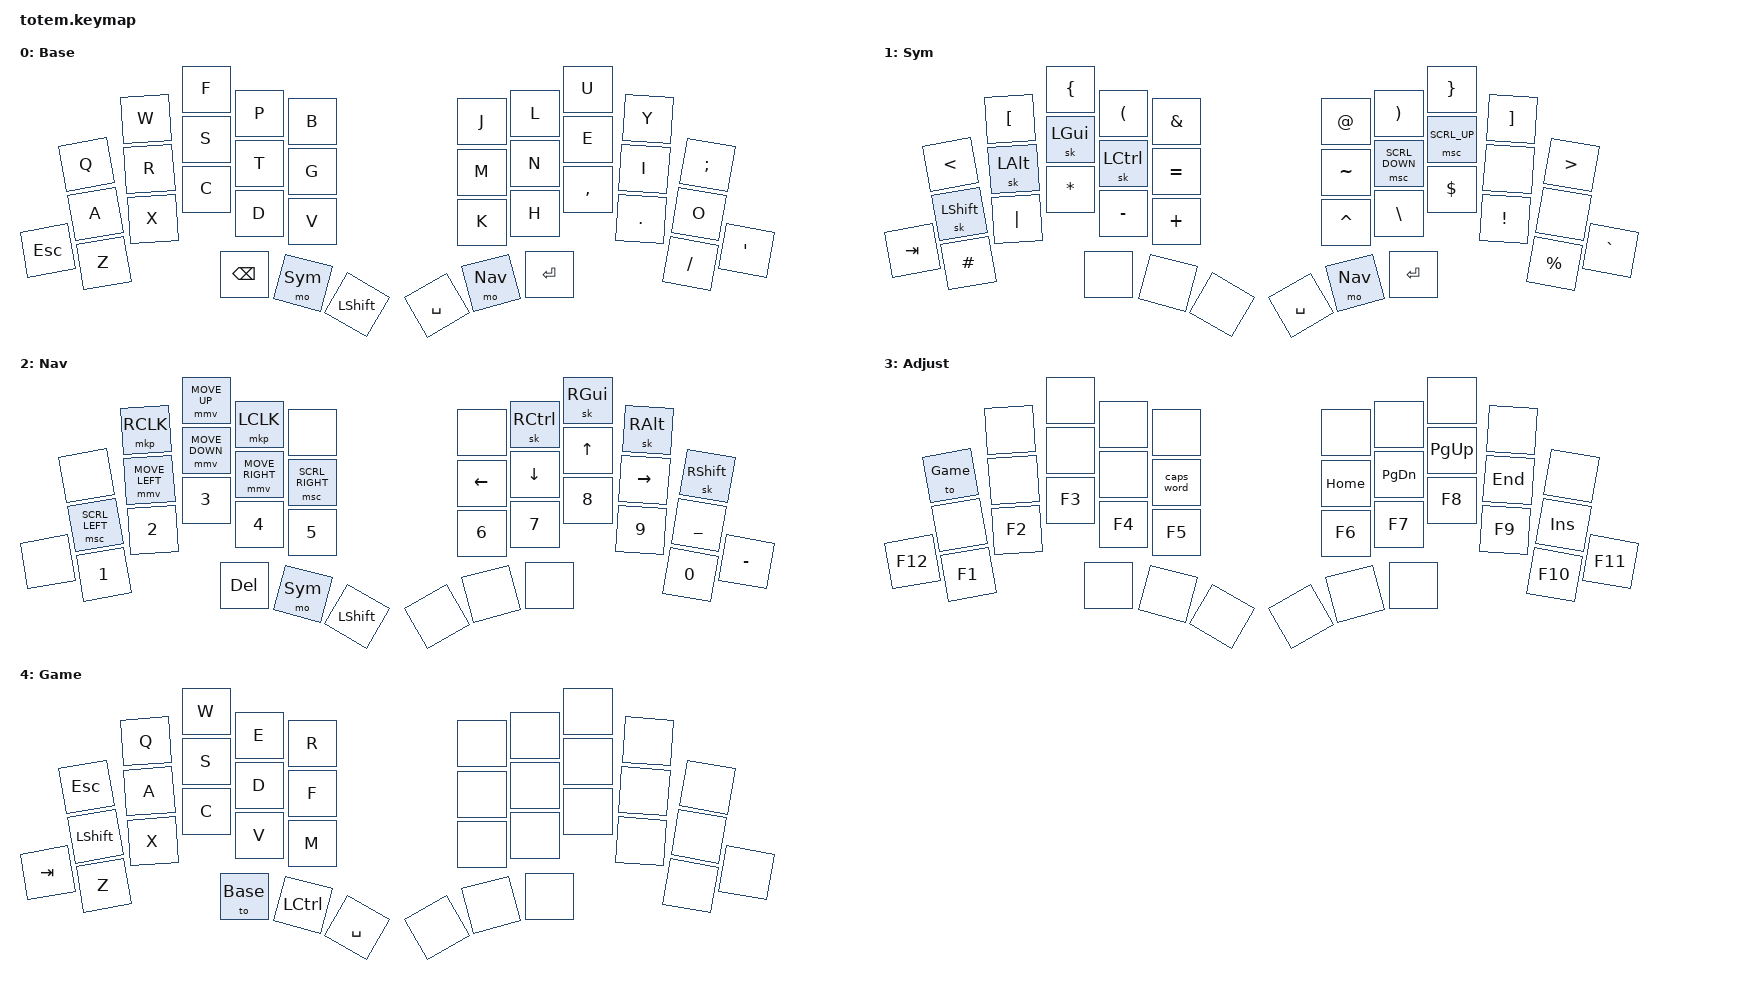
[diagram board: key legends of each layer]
//
//                                                        ▀▀▀▀▀     ▀▀▀▀▀          ▀▀█▀▀
//                                                        ▄▀▀▀▄  ▄  ▄▀▀▀▄  ▄  ▄▀▀▀▄  █  ▄▀▀▀▄
//                                                        █   █  █  █   █  █  █   █  █  █   █
//                                                         ▀▀▀   █   ▀▀▀   █   ▀▀▀   ▀   ▀▀▀
//                                                               █      ▄▄▄█▄▄▄    █   █  
//                                                               ▀      █  █  █     █▄█
//                                                             ▀▀▀▀▀    █  █  █      ▀
//                                                                      ▀  ▀  ▀
//
// ▄▄▄▄▄▄▄▄▄▄▄▄▄▄▄▄▄▄▄▄▄▄▄▄▄▄▄▄▄▄▄▄▄▄▄▄▄▄▄▄▄▄▄▄▄▄▄▄▄▄▄▄▄▄▄▄▄▄▄▄▄▄▄▄▄▄▄▄▄▄▄▄▄▄▄▄▄▄▄▄▄▄▄▄▄▄▄▄▄▄▄▄▄▄▄▄▄▄▄▄▄▄▄▄▄▄▄▄▄▄▄▄▄▄▄▄▄▄▄▄▄▄▄▄▄▄▄▄▄▄▄▄▄▄▄▄▄▄▄▄▄▄▄▄▄▄▄▄▄

#include <behaviors.dtsi>
#include <dt-bindings/zmk/keys.h>
#include <dt-bindings/zmk/bt.h>
#include <dt-bindings/zmk/outputs.h>
#include <dt-bindings/zmk/ext_power.h>

#define Base            0
#define Sym             1
#define Nav             2
#define Adjust          3
#define Game            4

&sk {
    release-after-ms = <1000>;
    quick-release;
};

&caps_word {
    continue-list = <UNDERSCORE MINUS BSPC>;
};

/ {
    conditional_layers {
        compatible = "zmk,conditional-layers";
        tri_layer {
            if-layers = <1 2>;
            then-layer = <3>;
        };
    };

    //               0   1   2   3   4                   5   6   7   8   9
    //               10  11  12  13  14                  15  16  17  18  19
    //           20  21  22  23  24  25                  26  27  28  29  30  31
    //                       32  33  34                  35  36  37

    keymap {
        compatible = "zmk,keymap";

        Base {
            label = "Base";
            bindings = <
                     &kp Q  &kp W  &kp F     &kp P    &kp B                      &kp J      &kp L    &kp U      &kp Y    &kp SEMI
                     &kp A  &kp R  &kp S     &kp T    &kp G                      &kp M      &kp N    &kp E      &kp I    &kp O
            &kp ESC  &kp Z  &kp X  &kp C     &kp D    &kp V                      &kp K      &kp H    &kp COMMA  &kp DOT  &kp SLASH  &kp SQT
                                   &kp BSPC  &mo Sym  &kp LSHFT                  &kp SPACE  &mo Nav  &kp RET
            >;
        };

        Sym {
            label = "Sym";
            bindings = <
                      &kp LT     &kp LBKT  &kp LBRC  &kp LPAR   &kp AMPS         &kp AT     &kp  RPAR      &kp  RBRC    &kp RBKT  &kp GT
                      &sk LSHFT  &sk LALT  &sk LGUI  &sk LCTRL  &kp EQUAL        &kp TILDE  &msc SCRL_DOWN &msc SCRL_UP &none     &none
            &kp TAB   &kp HASH   &kp PIPE  &kp STAR  &kp MINUS  &kp PLUS         &kp CARET  &kp  BSLH      &kp  DLLR    &kp EXCL  &kp PRCNT  &kp GRAVE
                                           &none     &none      &none            &kp SPACE  &mo  Nav       &kp  RET
            >;
        };

        Nav {
            label = "Nav";
            bindings = <
                  &none          &mkp RCLK      &mmv MOVE_UP   &mkp LCLK       &none                   &none    &sk RCTRL  &sk RGUI  &sk RALT   &sk RSHFT
                  &msc SCRL_LEFT &mmv MOVE_LEFT &mmv MOVE_DOWN &mmv MOVE_RIGHT &msc SCRL_RIGHT         &kp LEFT &kp DOWN   &kp UP    &kp RIGHT  &kp UNDER
            &none &kp N1         &kp N2         &kp N3         &kp N4          &kp N5                  &kp N6   &kp N7     &kp N8    &kp N9     &kp N0     &kp MINUS
                                                &kp DEL        &mo Sym         &kp LSHFT               &none    &none      &none
            >;
        };

        Adjust {
            label = "Adjust";
            bindings = <
                      &to Game  &none   &none   &none   &none                    &none    &none     &none     &none   &none
                      &none     &none   &none   &none   &caps_word               &kp HOME &kp PG_DN &kp PG_UP &kp END &kp INS
            &kp F12   &kp F1    &kp F2  &kp F3  &kp F4  &kp F5                   &kp F6   &kp F7    &kp F8    &kp F9  &kp F10     &kp F11
                                        &none   &none   &none                    &none    &none     &none
            >;
        };

        Game {
            label = "Game";
            bindings = <
                     &kp ESC    &kp Q  &kp W    &kp E      &kp R                 &none  &none  &none  &none  &none
                     &kp LSHFT  &kp A  &kp S    &kp D      &kp F                 &none  &none  &none  &none  &none
            &kp TAB  &kp Z      &kp X  &kp C    &kp V      &kp M                 &none  &none  &none  &none  &none  &none
                                       &to Base &kp LCTRL  &kp SPACE             &none  &none  &none
            >;
        };
    };
};
